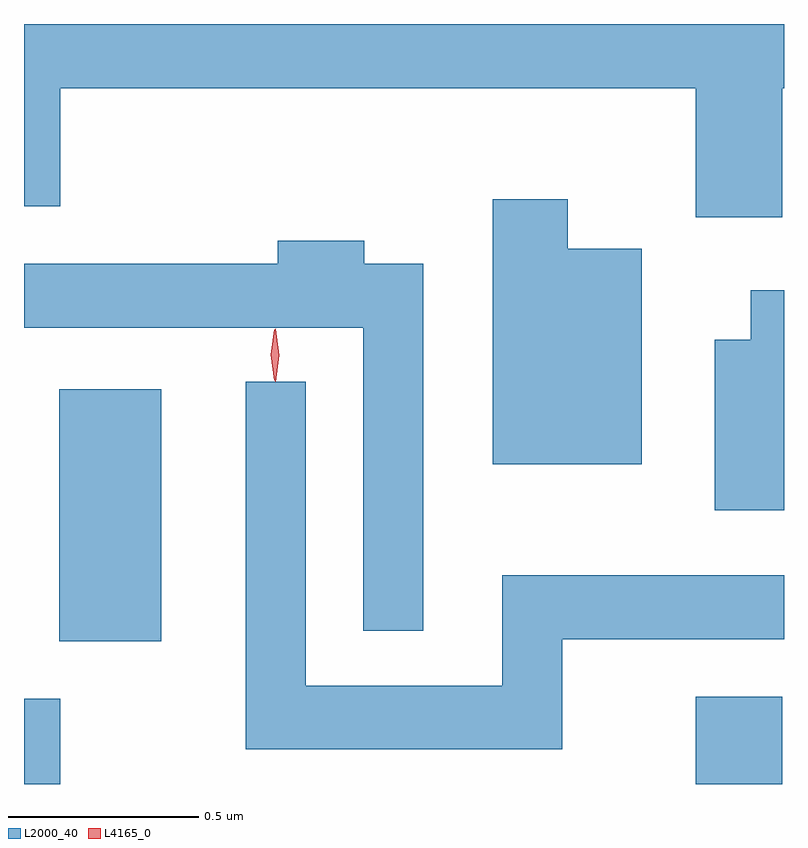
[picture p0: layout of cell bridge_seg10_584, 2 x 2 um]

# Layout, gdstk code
import gdstk
lib = gdstk.Library(unit=1e-6, precision=1e-09)
def R(c, l, rs):  # rectangles x0, y0, x1, y1
    for r in rs: c.add(gdstk.rectangle(r[:2], r[2:], *l))
def P(c, l, *ps):  # polygons
    for p in ps: c.add(gdstk.Polygon(p, *l))
L2000_40 = (2000, 40)
L4165_0 = (4165, 0)

bridge_seg10_584 = lib.new_cell('bridge_seg10_584')
R(bridge_seg10_584, L2000_40, [(774.613,2167.585,774.709,2167.809), (776.381,2167.585,776.609,2167.814), (774.706,2167.961,774.974,2168.624)])
P(bridge_seg10_584, L2000_40, [(776.609,2169.416),(776.613,2169.416),(776.613,2169.585),(774.613,2169.585),(774.613,2169.106),(774.709,2169.106),(774.709,2169.416),(776.381,2169.416),(776.381,2169.076),(776.609,2169.076)],
  [(776.239,2168.994),(776.044,2168.994),(776.044,2169.124),(775.846,2169.124),(775.846,2168.426),(776.239,2168.426)],
  [(775.664,2168.954),(775.509,2168.954),(775.509,2169.014),(775.281,2169.014),(775.281,2168.954),(774.613,2168.954),(774.613,2168.786),(775.506,2168.786),(775.506,2167.988),(775.664,2167.988)],
  [(776.613,2168.884),(776.526,2168.884),(776.526,2168.754),(776.431,2168.754),(776.431,2168.306),(776.613,2168.306)],
  [(776.029,2167.966),(776.613,2167.966),(776.613,2168.134),(775.871,2168.134),(775.871,2167.844),(775.354,2167.844),(775.354,2168.643),(775.196,2168.643),(775.196,2167.676),(776.029,2167.676)])
P(bridge_seg10_584, L4165_0, [(775.274,2168.644),(775.265,2168.713),(775.274,2168.782),(775.275,2168.783),(775.275,2168.782),(775.285,2168.713),(775.275,2168.644),(775.275,2168.644)],
  [(775.272,2168.647),(775.272,2168.647),(775.262,2168.714),(775.272,2168.78),(775.272,2168.78),(775.273,2168.78),(775.282,2168.714),(775.273,2168.647)])

lib.write_gds('bridge_seg10_584.gds')
